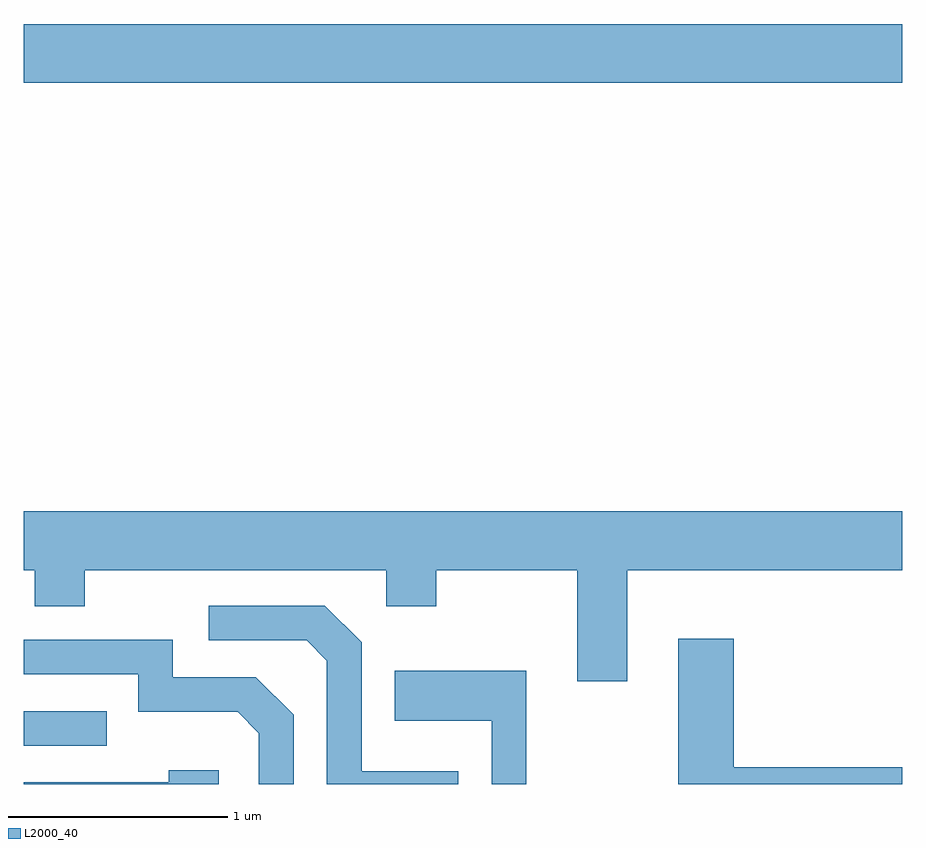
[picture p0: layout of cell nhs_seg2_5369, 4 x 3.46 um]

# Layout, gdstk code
import gdstk
lib = gdstk.Library(unit=1e-6, precision=1e-09)
def R(c, l, rs):  # rectangles x0, y0, x1, y1
    for r in rs: c.add(gdstk.rectangle(r[:2], r[2:], *l))
def P(c, l, *ps):  # polygons
    for p in ps: c.add(gdstk.Polygon(p, *l))
L2000_40 = (2000, 40)

nhs_seg2_5369 = lib.new_cell('nhs_seg2_5369')
R(nhs_seg2_5369, L2000_40, [(343.611,1031.976,343.988,1032.134), (343.611,1034.996,347.611,1035.264)])
P(nhs_seg2_5369, L2000_40, [(346.359,1032.776),(347.611,1032.776),(347.611,1033.044),(343.611,1033.044),(343.611,1032.776),(343.661,1032.776),(343.661,1032.611),(343.889,1032.611),(343.889,1032.776),(345.261,1032.776),(345.261,1032.611),(345.489,1032.611),(345.489,1032.776),(346.131,1032.776),(346.131,1032.271),(346.359,1032.271)],
  [(345.589,1031.859),(345.149,1031.859),(345.149,1032.447),(344.982,1032.614),(344.453,1032.614),(344.453,1032.456),(344.899,1032.456),(344.991,1032.363),(344.991,1031.802),(345.589,1031.802)],
  [(347.611,1031.879),(346.844,1031.879),(346.844,1032.464),(346.591,1032.464),(346.591,1031.802),(347.611,1031.802)],
  [(344.839,1032.117),(344.667,1032.289),(344.289,1032.289),(344.289,1032.459),(343.611,1032.459),(343.611,1032.301),(344.131,1032.301),(344.131,1032.131),(344.584,1032.131),(344.681,1032.034),(344.681,1031.802),(344.839,1031.802)],
  [(345.899,1032.319),(345.301,1032.319),(345.301,1032.091),(345.741,1032.091),(345.741,1031.802),(345.899,1031.802)],
  [(344.499,1031.864),(344.271,1031.864),(344.271,1031.809),(343.611,1031.809),(343.611,1031.802),(344.499,1031.802)])

lib.write_gds('nhs_seg2_5369.gds')
